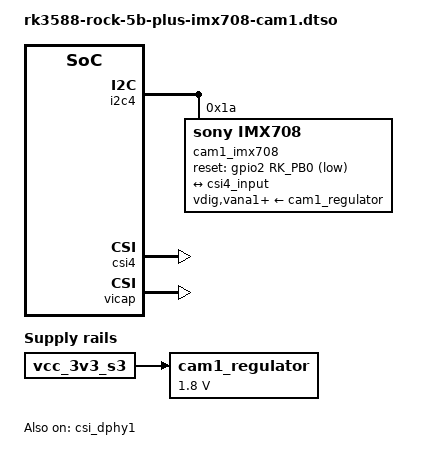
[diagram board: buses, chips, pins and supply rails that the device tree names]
// SPDX-License-Identifier: (GPL-2.0+ OR MIT)
/*
 * Device tree overlay for the IMX708 camera attached to the CAM1 port of
 * the Radxa ROCK 5B+.
 */

/dts-v1/;
/plugin/;

#include <dt-bindings/clock/rockchip,rk3588-cru.h>
#include <dt-bindings/gpio/gpio.h>
#include <dt-bindings/pinctrl/rockchip.h>

&{/} {
	cam1_regulator: cam1_regulator {
		compatible = "regulator-fixed";
		regulator-min-microvolt = <1800000>;
		regulator-max-microvolt = <1800000>;
		regulator-name = "cam1_regulator";
		vin-supply = <&vcc_3v3_s3>;
	};
};

&i2c4 {
	#address-cells = <1>;
	#size-cells = <0>;
	status = "okay";

	cam1_imx708: camera-sensor@1a {
		compatible = "sony,imx708";
		reg = <0x1a>;
		assigned-clocks = <&cru CLK_MIPI_CAMARAOUT_M4>;
		assigned-clock-rates = <24000000>;
		clocks = <&cru CLK_MIPI_CAMARAOUT_M4>;

		vdig-supply = <&cam1_regulator>;
		vana1-supply = <&cam1_regulator>;
		vana2-supply = <&cam1_regulator>;
		vddl-supply = <&cam1_regulator>;

		orientation = <2>; /* External */

		pinctrl-names = "default";
		pinctrl-0 = <&cam1_rstn &mipim0_camera4_clk>;
		reset-gpios = <&gpio2 RK_PB0 GPIO_ACTIVE_LOW>;

		port {
			cam1_imx708_output: endpoint {
				data-lanes = <1 2>;
				clock-noncontinuous;
				link-frequencies = /bits/ 64 <450000000>;
				remote-endpoint = <&csi4_input>;
			};
		};
	};
};

&pinctrl {
	cam1 {
		cam1_rstn: cam1-rstn-pinctrl {
			rockchip,pins = <2 RK_PB0 RK_FUNC_GPIO &pcfg_pull_none>;
		};
	};
};

&csi4 {
	status = "okay";
};

&csi4_in {
	csi4_input: endpoint {
		data-lanes = <1 2>;
		clock-noncontinuous;
		link-frequencies = /bits/ 64 <450000000>;
		remote-endpoint = <&cam1_imx708_output>;
	};
};

&csi_dphy1 {
	status = "okay";
};

&vicap {
	status = "okay";
};

&vicap_mmu {
	status = "okay";
};
